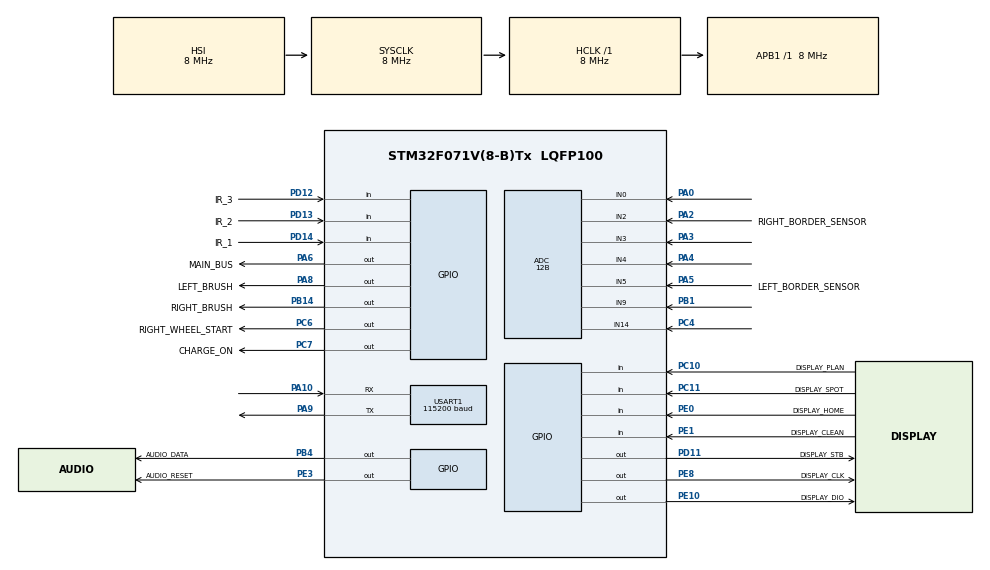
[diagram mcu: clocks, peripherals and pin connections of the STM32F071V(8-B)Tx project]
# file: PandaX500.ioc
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ADC.ClockPrescaler=ADC_CLOCK_SYNC_PCLK_DIV2
ADC.ContinuousConvMode=ENABLE
ADC.DMAContinuousRequests=ENABLE
ADC.DataAlign=ADC_DATAALIGN_RIGHT
ADC.DiscontinuousConvMode=DISABLE
ADC.EOCSelection=ADC_EOC_SINGLE_CONV
ADC.EnableAnalogWatchDog=false
ADC.ExternalTrigConv=ADC_SOFTWARE_START
ADC.ExternalTrigConvEdge=ADC_EXTERNALTRIGCONVEDGE_NONE
ADC.LowPowerAutoPowerOff=DISABLE
ADC.LowPowerAutoWait=DISABLE
ADC.Overrun=ADC_OVR_DATA_PRESERVED
ADC.Resolution=ADC_RESOLUTION_12B
ADC.SamplingTime=ADC_SAMPLETIME_1CYCLE_5
ADC.ScanConvMode=ADC_SCAN_DIRECTION_FORWARD
Dma.ADC.0.Direction=DMA_PERIPH_TO_MEMORY
Dma.ADC.0.Instance=DMA1_Channel1
Dma.ADC.0.MemDataAlignment=DMA_MDATAALIGN_WORD
Dma.ADC.0.MemInc=DMA_MINC_ENABLE
Dma.ADC.0.Mode=DMA_CIRCULAR
Dma.ADC.0.PeriphDataAlignment=DMA_PDATAALIGN_WORD
Dma.ADC.0.PeriphInc=DMA_PINC_DISABLE
Dma.ADC.0.Priority=DMA_PRIORITY_LOW
Dma.Request0=ADC
Mcu.Family=STM32F0
Mcu.Name=STM32F071V(8-B)Tx
Mcu.Package=LQFP100
NVIC.ADC1_COMP_IRQn=true\:0\:0\:false\:false\:true\:true
NVIC.DMA1_Channel1_IRQn=true\:0\:0\:false\:false\:true\:false
NVIC.RCC_CRS_IRQn=true\:0\:0\:false\:false\:true\:true
NVIC.TIM16_IRQn=true\:0\:0\:false\:false\:true\:true
PA0.Mode=IN0
PA0.Signal=ADC_IN0
PA10.Mode=Asynchronous
PA10.Signal=USART1_RX
PA13.Mode=Serial_Wire
PA13.Signal=SYS_SWDIO
PA14.Mode=Serial_Wire
PA14.Signal=SYS_SWCLK
PA2.GPIO_Label=RIGHT_BORDER_SENSOR
PA2.Mode=IN2
PA2.Signal=ADC_IN2
PA3.Mode=IN3
PA3.Signal=ADC_IN3
PA4.Mode=IN4
PA4.Signal=ADC_IN4
PA5.GPIO_Label=LEFT_BORDER_SENSOR
PA5.Mode=IN5
PA5.Signal=ADC_IN5
PA6.GPIO_Label=MAIN_BUS
PA6.Signal=GPIO_Output
PA8.GPIO_Label=LEFT_BRUSH
PA8.Signal=GPIO_Output
PA9.Mode=Asynchronous
PA9.Signal=USART1_TX
PB1.Mode=IN9
PB1.Signal=ADC_IN9
PB14.GPIO_Label=RIGHT_BRUSH
PB14.Signal=GPIO_Output
PB4.GPIO_Label=AUDIO_DATA
PB4.Signal=GPIO_Output
PC10.GPIO_Label=DISPLAY_PLAN
PC10.Signal=GPIO_Input
PC11.GPIO_Label=DISPLAY_SPOT
PC11.Signal=GPIO_Input
PC4.Mode=IN14
PC4.Signal=ADC_IN14
PC6.GPIO_Label=RIGHT_WHEEL_START
PC6.Signal=GPIO_Output
PC7.GPIO_Label=CHARGE_ON
PC7.Signal=GPIO_Output
PD11.GPIO_Label=DISPLAY_STB
PD11.Signal=GPIO_Output
PD12.GPIO_Label=IR_3
PD12.Signal=GPIO_Input
PD13.GPIO_Label=IR_2
PD13.Signal=GPIO_Input
PD14.GPIO_Label=IR_1
PD14.Signal=GPIO_Input
PE0.GPIO_Label=DISPLAY_HOME
PE0.Signal=GPIO_Input
PE1.GPIO_Label=DISPLAY_CLEAN
PE1.Signal=GPIO_Input
PE10.GPIO_Label=DISPLAY_DIO
PE10.Signal=GPIO_Output
PE3.GPIO_Label=AUDIO_RESET
PE3.Signal=GPIO_Output
PE8.GPIO_Label=DISPLAY_CLK
PE8.Signal=GPIO_Output
PF0-OSC_IN.Mode=HSE-External-Oscillator
PF0-OSC_IN.Signal=RCC_OSC_IN
PF1-OSC_OUT.Mode=HSE-External-Oscillator
PF1-OSC_OUT.Signal=RCC_OSC_OUT
ProjectManager.HeapSize=0x200
ProjectManager.StackSize=0x400
ProjectManager.TargetToolchain=SW4STM32
RCC.AHBFreq_Value=8000000
RCC.APB1Freq_Value=8000000
RCC.APB1TimFreq_Value=8000000
RCC.HCLKFreq_Value=8000000
RCC.PLLDivider=RCC_PREDIV_DIV2
RCC.PLLMUL=RCC_PLL_MUL7
RCC.SYSCLKFreq_VALUE=8000000
TIM16.Period=7
USART1.BaudRate=115200
USART1.VirtualMode-Asynchronous=VM_ASYNC
USART1.WordLength=WORDLENGTH_8B
VP_TIM16_VS_ClockSourceINT.Mode=Enable_Timer
board=PandaX500

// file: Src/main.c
/**
  ******************************************************************************
  * File Name          : main.c
  * Description        : Main program body
  ******************************************************************************
  ** This notice applies to any and all portions of this file
  * that are not between comment pairs USER CODE BEGIN and
  * USER CODE END. Other portions of this file, whether
  * inserted by the user or by software development tools
  * are owned by their respective copyright owners.
  *
  * COPYRIGHT(c) 2018 STMicroelectronics
  *
  * Redistribution and use in source and binary forms, with or without modification,
  * are permitted provided that the following conditions are met:
  *   1. Redistributions of source code must retain the above copyright notice,
  *      this list of conditions and the following disclaimer.
  *   2. Redistributions in binary form must reproduce the above copyright notice,
  *      this list of conditions and the following disclaimer in the documentation
  *      and/or other materials provided with the distribution.
  *   3. Neither the name of STMicroelectronics nor the names of its contributors
  *      may be used to endorse or promote products derived from this software
  *      without specific prior written permission.
  *
  * THIS SOFTWARE IS PROVIDED BY THE COPYRIGHT HOLDERS AND CONTRIBUTORS "AS IS"
  * AND ANY EXPRESS OR IMPLIED WARRANTIES, INCLUDING, BUT NOT LIMITED TO, THE
  * IMPLIED WARRANTIES OF MERCHANTABILITY AND FITNESS FOR A PARTICULAR PURPOSE ARE
  * DISCLAIMED. IN NO EVENT SHALL THE COPYRIGHT HOLDER OR CONTRIBUTORS BE LIABLE
  * FOR ANY DIRECT, INDIRECT, INCIDENTAL, SPECIAL, EXEMPLARY, OR CONSEQUENTIAL
  * DAMAGES (INCLUDING, BUT NOT LIMITED TO, PROCUREMENT OF SUBSTITUTE GOODS OR
  * SERVICES; LOSS OF USE, DATA, OR PROFITS; OR BUSINESS INTERRUPTION) HOWEVER
  * CAUSED AND ON ANY THEORY OF LIABILITY, WHETHER IN CONTRACT, STRICT LIABILITY,
  * OR TORT (INCLUDING NEGLIGENCE OR OTHERWISE) ARISING IN ANY WAY OUT OF THE USE
  * OF THIS SOFTWARE, EVEN IF ADVISED OF THE POSSIBILITY OF SUCH DAMAGE.
  *
  ******************************************************************************
  */

#include "main.h"
#include "stm32f0xx_hal.h"
#include "adc.h"
#include "dma.h"
#include "tim.h"
#include "usart.h"
#include "gpio.h"

/* USER CODE BEGIN Includes */
#include "irmp/irmp.h"
#include "tm1628/Display.h"
#include "x500.h"
#include "wtv040/wtv.h"
#include "irmp/irmpsystem.h"
#include "tm16xx/TM16XX.h"
#include "helpers.h"
/* USER CODE END Includes */

/* USER CODE BEGIN PV */

/* Private variables ---------------------------------------------------------*/

/* USER CODE END PV */

void SystemClock_Config(void);

/* USER CODE BEGIN PFP */

/* Private function prototypes -----------------------------------------------*/

/* USER CODE END PFP */

/* USER CODE BEGIN 0 */

IRMP_DATA irmp_data1;
IRMP_DATA irmp_data2;
IRMP_DATA irmp_data3;
IRMP_STATE irmp_state1;
IRMP_STATE irmp_state2;
IRMP_STATE irmp_state3;

#define ADC_SIZE 5
uint32_t adc_buf[ADC_SIZE];

//void TIM16_IRQHandler(void) {
//    /* USER CODE BEGIN TIM16_IRQn 0 */
//    irmp_ISR(IR_1_GPIO_Port, IR_1_Pin,
//             &irmp_state1);                                                        // call irmp ISR
////    irmp_ISR(IR_2_GPIO_Port, IR_2_Pin,
////             &irmp_state2);                                                        // call irmp ISR
////    irmp_ISR(IR_3_GPIO_Port, IR_3_Pin,
////             &irmp_state3);                                                        // call irmp ISR
//
//    /* USER CODE END TIM16_IRQn 0 */
//    HAL_TIM_IRQHandler(&htim16);
//    /* USER CODE BEGIN TIM16_IRQn 1 */
//
//    /* USER CODE END TIM16_IRQn 1 */
//}

void HAL_ADC_ConvCpltCallback(ADC_HandleTypeDef *hadc) {
//    /* Prevent unused argument(s) compilation warning */
//    char buf[10] = {0};
//    for (int i = 0; i < ADC_SIZE; ++i) {
//        sprintf(buf, "%d ", adc_buf[i]);
//        HAL_UART_Transmit(&huart1, buf, 10, 0xFFFF);
//    }
//    HAL_UART_Transmit(&huart1, "\r\n", 2, 0xFFFF);

  /* NOTE : This function should not be modified. When the callback is needed,
            function HAL_ADC_ConvCpltCallback must be implemented in the user file.
   */
}

void HAL_ADC_ConvHalfCpltCallback(ADC_HandleTypeDef *hadc) {
//    /* Prevent unused argument(s) compilation warning */
  //TODO: understand why full conversion never happens
  char buf[10] = {0};
  for (int i = 0; i < ADC_SIZE; i++) {
    HAL_UART_Print_Number(adc_buf[i]);
  }
  HAL_UART_Println("");
  /* NOTE : This function should not be modified. When the callback is needed,
            function HAL_ADC_ConvCpltCallback must be implemented in the user file.
   */
}

/* USER CODE END 0 */

int main(void) {

  /* MCU Configuration----------------------------------------------------------*/

  /* Reset of all peripherals, Initializes the Flash interface and the Systick. */
  HAL_Init();

  /* Configure the system clock */
  SystemClock_Config();

  /* Initialize all configured peripherals */
  MX_GPIO_Init();
  MX_DMA_Init();
  MX_TIM16_Init();
  MX_USART1_UART_Init();
  MX_ADC_Init();

  /* Infinite loop */

  /* USER CODE BEGIN 3 */
  TM16XX display = {
      .Dio  = {.Port= DISPLAY_DIO_GPIO_Port, .Pin = DISPLAY_DIO_Pin},
      .Stb  = {.Port= DISPLAY_STB_GPIO_Port, .Pin = DISPLAY_STB_Pin},
      .Clk  = {.Port= DISPLAY_CLK_GPIO_Port, .Pin = DISPLAY_CLK_Pin}
  };

  WTV040 voice = {
      .Data = {.Port = AUDIO_DATA_GPIO_Port, .Pin = AUDIO_DATA_Pin},
      .Reset = {.Port = AUDIO_RESET_GPIO_Port, .Pin = AUDIO_RESET_Pin}
  };

  TM_Init(&display, true, 8);
  TM_Brightness(&display, true, 7);
  TM_Clear(&display);
  TM_Ext_Text(&display, "1111");

  WTV040_OpenAmp(&voice);
  WTV040_Volume(0, &voice);
  WTV040_Cmd(CMD_BELL1, &voice);

  __HAL_RCC_SYSCFG_CLK_ENABLE();

  X500_Charge(true);
//    X500_Right_Wheel(true);
//    X500_BatteryMon_Test(&display, &hadc);

//    X500_Bell_All(&display);
  X500_Main_Bus(true);
//    HAL_GPIO_WritePin(RIGHT_WHEEL_START_GPIO_Port, RIGHT_WHEEL_START_Pin, GPIO_PIN_SET);
  //TODO: understand why it does not turn on without bell function
//    X500_Right_Brush(true);
//    X500_Left_Brush(true);
  X500_Bell_Inc(&display);
  HAL_ADC_Start_DMA(&hadc, (uint32_t *) adc_buf, ADC_SIZE);
  while (1) {
//        HAL_ADC_Start_IT(&hadc);
    HAL_Delay(10);

  }

//    char buf[4] = {0};
//
//    HAL_TIM_Base_Start_IT(&htim16);
//    const int SIZE = 1024;
//    IRMP_DATA all[SIZE];
//    for (int j = 0; j < SIZE; ++j) {
//        all[j].command = 0;
//        all[j].address = 0;
//        all[j].flags = 0;
//        all[j].protocol = 0;
//    }
//    int current = 0;
//    for (;;) {
//        if (irmp_get_data(&irmp_data1, &irmp_state1)) {
//            sprintf(buf, "%d", current);
//            TM_Ext_Text(&display, buf);
//            bool found = false;
//            for (int i = 0; i < SIZE; i++) {
//                IRMP_DATA toCompare = all[i];
//                if (/*toCompare.address == irmp_data1.address &&*/ toCompare.command == irmp_data1.command) {
//                    found = true;
//                    break;
//                }
//            }
//            if (!found) {
//                all[current] = irmp_data1;
//                current++;
//                uint8_t str[100] = {0};
//                sprintf(str, "Prot: %d, cmd: %d, addr: %d, flags: %d\r\n", irmp_data1.protocol, irmp_data1.command,
//                       irmp_data1.address, irmp_data1.flags);
//
//                HAL_UART_Transmit(&huart1, str, 50, 0xFFFF);
//            }
//        }
//    }

  /* USER CODE END 3 */

}

/** System Clock Configuration
*/
void SystemClock_Config(void) {

  RCC_OscInitTypeDef RCC_OscInitStruct;
  RCC_ClkInitTypeDef RCC_ClkInitStruct;
  RCC_PeriphCLKInitTypeDef PeriphClkInit;

  /**Initializes the CPU, AHB and APB busses clocks
  */
  RCC_OscInitStruct.OscillatorType = RCC_OSCILLATORTYPE_HSI;
  RCC_OscInitStruct.HSIState = RCC_HSI_ON;
  RCC_OscInitStruct.HSICalibrationValue = 16;
  RCC_OscInitStruct.PLL.PLLState = RCC_PLL_NONE;
  if (HAL_RCC_OscConfig(&RCC_OscInitStruct) != HAL_OK) {
    _Error_Handler(__FILE__, __LINE__);
  }

  /**Initializes the CPU, AHB and APB busses clocks
  */
  RCC_ClkInitStruct.ClockType = RCC_CLOCKTYPE_HCLK | RCC_CLOCKTYPE_SYSCLK
                                | RCC_CLOCKTYPE_PCLK1;
  RCC_ClkInitStruct.SYSCLKSource = RCC_SYSCLKSOURCE_HSI;
  RCC_ClkInitStruct.AHBCLKDivider = RCC_SYSCLK_DIV1;
  RCC_ClkInitStruct.APB1CLKDivider = RCC_HCLK_DIV1;

  if (HAL_RCC_ClockConfig(&RCC_ClkInitStruct, FLASH_LATENCY_0) != HAL_OK) {
    _Error_Handler(__FILE__, __LINE__);
  }

  PeriphClkInit.PeriphClockSelection = RCC_PERIPHCLK_USART1;
  PeriphClkInit.Usart1ClockSelection = RCC_USART1CLKSOURCE_PCLK1;
  if (HAL_RCCEx_PeriphCLKConfig(&PeriphClkInit) != HAL_OK) {
    _Error_Handler(__FILE__, __LINE__);
  }

  /**Configure the Systick interrupt time
  */
  HAL_SYSTICK_Config(HAL_RCC_GetHCLKFreq() / 1000);

  /**Configure the Systick
  */
  HAL_SYSTICK_CLKSourceConfig(SYSTICK_CLKSOURCE_HCLK);

  /* SysTick_IRQn interrupt configuration */
  HAL_NVIC_SetPriority(SysTick_IRQn, 0, 0);
}

void _Error_Handler(char *file, int line) {
  while (1) {
  }
}

/************************ (C) COPYRIGHT STMicroelectronics *****END OF FILE****/
